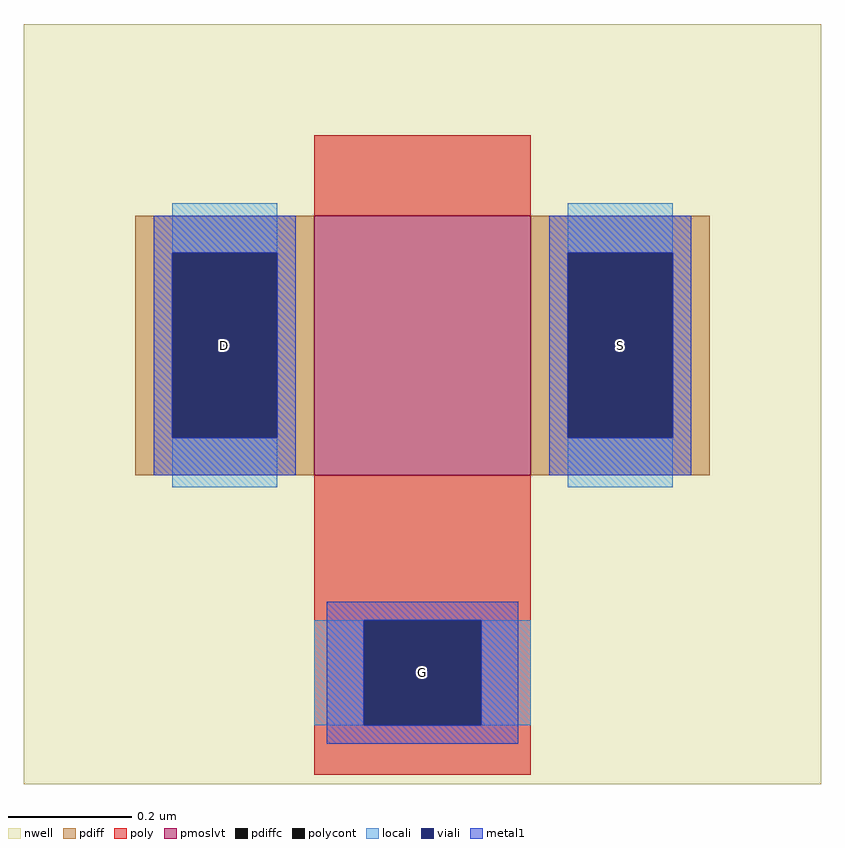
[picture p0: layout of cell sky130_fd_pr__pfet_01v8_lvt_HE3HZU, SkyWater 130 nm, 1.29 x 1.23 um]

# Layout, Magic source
magic
tech sky130A
magscale 1 2
<< nwell >>
rect -129 -106 129 140
<< pmoslvt >>
rect -35 -6 35 78
<< pdiff >>
rect -93 66 -35 78
rect -93 6 -81 66
rect -47 6 -35 66
rect -93 -6 -35 6
rect 35 66 93 78
rect 35 6 47 66
rect 81 6 93 66
rect 35 -6 93 6
<< pdiffc >>
rect -81 6 -47 66
rect 47 6 81 66
<< poly >>
rect -35 78 35 104
rect -35 -53 35 -6
rect -35 -87 -19 -53
rect 19 -87 35 -53
rect -35 -103 35 -87
<< polycont >>
rect -19 -87 19 -53
<< locali >>
rect -81 66 -47 82
rect -81 -10 -47 6
rect 47 66 81 82
rect 47 -10 81 6
rect -35 -87 -19 -53
rect 19 -87 35 -53
<< viali >>
rect -81 6 -47 66
rect 47 6 81 66
rect -19 -87 19 -53
<< metal1 >>
rect -87 66 -41 78
rect -87 6 -81 66
rect -47 6 -41 66
rect -87 -6 -41 6
rect 41 66 87 78
rect 41 6 47 66
rect 81 6 87 66
rect 41 -6 87 6
rect -31 -53 31 -47
rect -31 -87 -19 -53
rect 19 -87 31 -53
rect -31 -93 31 -87
<< labels >>
rlabel pdiffc -64 36 -64 36 0 D
port 1 nsew
rlabel pdiffc 64 36 64 36 0 S
port 2 nsew
rlabel polycont 0 -70 0 -70 0 G
port 3 nsew
<< properties >>
string gencell sky130_fd_pr__pfet_01v8_lvt
string library sky130
string parameters w 0.42 l 0.35 m 1 nf 1 diffcov 100 polycov 100 guard 0 glc 0 grc 0 gtc 0 gbc 0 tbcov 100 rlcov 100 topc 0 botc 1 poverlap 0 doverlap 1 lmin 0.35 wmin 0.42 class mosfet compatible {sky130_fd_pr__pfet_01v8  sky130_fd_pr__pfet_01v8_lvt sky130_fd_pr__pfet_01v8_hvt  sky130_fd_pr__pfet_g5v0d10v5} full_metal 0 conn_gates 0 viasrc 100 viadrn 100 viagate 100 viagb 0 viagr 0 viagl 0 viagt 0 doports 1
<< end >>
